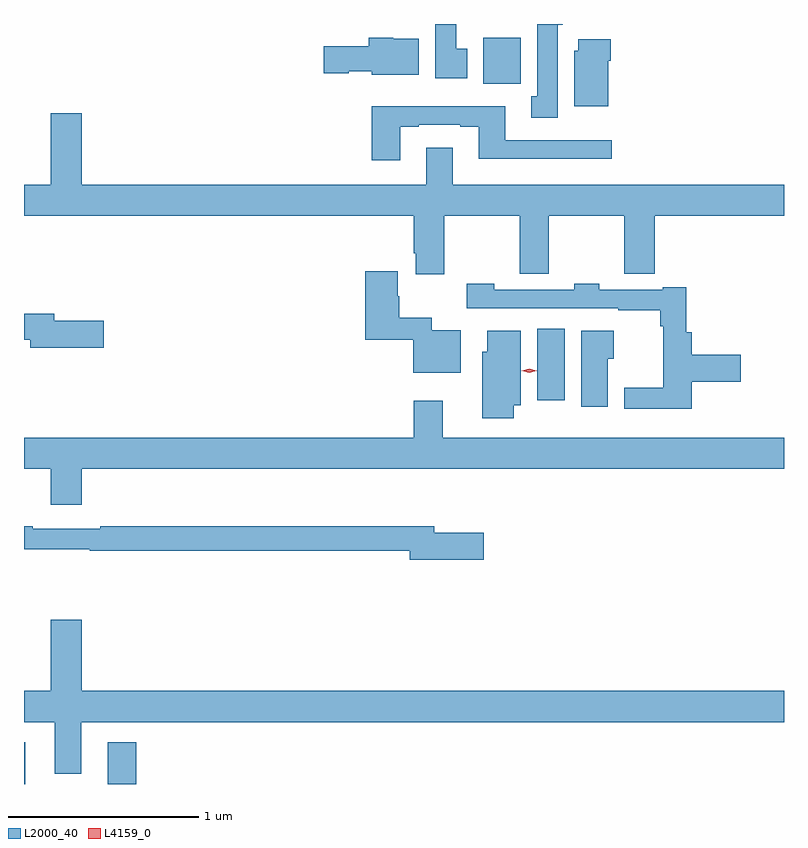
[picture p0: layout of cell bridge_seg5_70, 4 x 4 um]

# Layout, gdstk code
import gdstk
lib = gdstk.Library(unit=1e-6, precision=1e-09)
def R(c, l, rs):  # rectangles x0, y0, x1, y1
    for r in rs: c.add(gdstk.rectangle(r[:2], r[2:], *l))
def P(c, l, *ps):  # polygons
    for p in ps: c.add(gdstk.Polygon(p, *l))
L2000_40 = (2000, 40)
L4159_0 = (4159, 0)

bridge_seg5_70 = lib.new_cell('bridge_seg5_70')
R(bridge_seg5_70, L2000_40, [(140.892,844.446,140.899,844.666), (141.332,844.446,141.482,844.666), (143.594,846.465,143.737,846.841), (143.309,848.132,143.506,848.374)])
P(bridge_seg5_70, L2000_40, [(143.224,848.316),(143.167,848.316),(143.167,848.446),(143.057,848.446),(143.057,848.16),(143.224,848.16)],
  [(143.701,848.442),(143.728,848.442),(143.728,848.446),(143.594,848.446),(143.594,848.066),(143.561,848.066),(143.561,847.953),(143.701,847.953)],
  [(142.969,848.368),(142.836,848.368),(142.836,848.374),(142.706,848.374),(142.706,848.328),(142.47,848.328),(142.47,848.186),(142.602,848.186),(142.602,848.198),(142.722,848.198),(142.722,848.18),(142.969,848.18)],
  [(143.968,848.252),(143.981,848.252),(143.981,848.365),(143.81,848.365),(143.81,848.304),(143.789,848.304),(143.789,848.012),(143.968,848.012)],
  [(142.873,847.905),(142.969,847.905),(142.969,847.917),(143.189,847.917),(143.189,847.905),(143.285,847.905),(143.285,847.736),(143.986,847.736),(143.986,847.833),(143.425,847.833),(143.425,848.014),(142.721,848.014),(142.721,847.728),(142.873,847.728)],
  [(143.103,847.436),(143.5,847.436),(143.5,847.132),(143.654,847.132),(143.654,847.436),(144.052,847.436),(144.052,847.132),(144.212,847.132),(144.212,847.436),(144.892,847.436),(144.892,847.6),(143.149,847.6),(143.149,847.795),(143.009,847.795),(143.009,847.6),(141.196,847.6),(141.196,847.975),(141.032,847.975),(141.032,847.6),(140.892,847.6),(140.892,847.436),(142.943,847.436),(142.943,847.24),(142.955,847.24),(142.955,847.128),(143.103,847.128)],
  [(143.191,846.835),(143.037,846.835),(143.037,846.901),(142.866,846.901),(142.866,847.014),(142.858,847.014),(142.858,847.144),(142.688,847.144),(142.688,846.785),(142.941,846.785),(142.941,846.611),(143.191,846.611)],
  [(144.407,846.562),(144.664,846.562),(144.664,846.704),(144.407,846.704),(144.407,846.823),(144.377,846.823),(144.377,847.06),(144.254,847.06),(144.254,847.047),(143.919,847.047),(143.919,847.08),(143.787,847.08),(143.787,847.047),(143.367,847.047),(143.367,847.08),(143.223,847.08),(143.223,846.951),(144.019,846.951),(144.019,846.939),(144.241,846.939),(144.241,846.854),(144.256,846.854),(144.256,846.532),(144.051,846.532),(144.051,846.422),(144.407,846.422)],
  [(141.313,846.884),(141.052,846.884),(141.052,846.92),(140.892,846.92),(140.892,846.784),(140.924,846.784),(140.924,846.742),(141.313,846.742)],
  [(143.965,846.685),(143.995,846.685),(143.995,846.832),(143.825,846.832),(143.825,846.432),(143.965,846.432)],
  [(143.469,846.44),(143.506,846.44),(143.506,846.832),(143.33,846.832),(143.33,846.72),(143.303,846.72),(143.303,846.372),(143.469,846.372)],
  [(141.196,846.104),(144.892,846.104),(144.892,846.268),(143.095,846.268),(143.095,846.463),(142.943,846.463),(142.943,846.268),(140.892,846.268),(140.892,846.104),(141.032,846.104),(141.032,845.916),(141.196,845.916)],
  [(143.311,845.769),(143.05,845.769),(143.05,845.803),(141.292,845.803),(141.292,845.79),(140.938,845.79),(140.938,845.803),(140.892,845.803),(140.892,845.682),(141.238,845.682),(141.238,845.674),(142.922,845.674),(142.922,845.627),(143.311,845.627)],
  [(141.193,844.772),(144.892,844.772),(144.892,844.936),(141.196,844.936),(141.196,845.311),(141.032,845.311),(141.032,844.936),(140.892,844.936),(140.892,844.772),(141.053,844.772),(141.053,844.499),(141.193,844.499)])
P(bridge_seg5_70, L4159_0, [(143.551,846.611),(143.511,846.62),(143.511,846.62),(143.511,846.62),(143.551,846.631),(143.591,846.621),(143.591,846.621),(143.591,846.621)])

lib.write_gds('bridge_seg5_70.gds')
